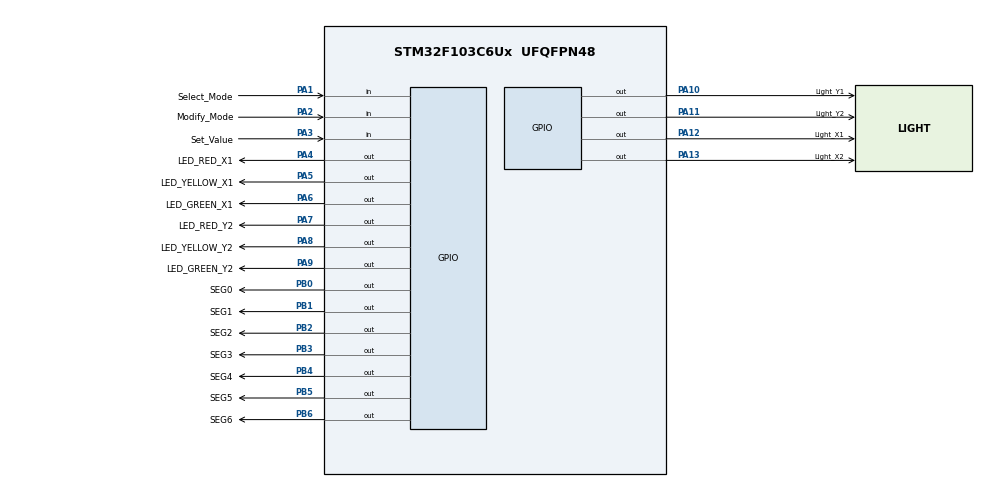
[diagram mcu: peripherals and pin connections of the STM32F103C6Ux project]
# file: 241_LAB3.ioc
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Mcu.Family=STM32F1
Mcu.Name=STM32F103C6Ux
Mcu.Package=UFQFPN48
NVIC.PriorityGroup=NVIC_PRIORITYGROUP_4
NVIC.TIM2_IRQn=true\:0\:0\:false\:false\:true\:true\:true
PA1.GPIO_Label=Select_Mode
PA1.GPIO_PuPd=GPIO_PULLUP
PA1.Signal=GPIO_Input
PA10.GPIO_Label=Light_Y1
PA10.Signal=GPIO_Output
PA11.GPIO_Label=Light_Y2
PA11.Signal=GPIO_Output
PA12.GPIO_Label=Light_X1
PA12.Signal=GPIO_Output
PA13.GPIO_Label=Light_X2
PA13.Signal=GPIO_Output
PA2.GPIO_Label=Modify_Mode
PA2.GPIO_PuPd=GPIO_PULLUP
PA2.Signal=GPIO_Input
PA3.GPIO_Label=Set_Value
PA3.GPIO_PuPd=GPIO_PULLUP
PA3.Signal=GPIO_Input
PA4.GPIO_Label=LED_RED_X1
PA4.Signal=GPIO_Output
PA5.GPIO_Label=LED_YELLOW_X1
PA5.Signal=GPIO_Output
PA6.GPIO_Label=LED_GREEN_X1
PA6.Signal=GPIO_Output
PA7.GPIO_Label=LED_RED_Y2
PA7.Signal=GPIO_Output
PA8.GPIO_Label=LED_YELLOW_Y2
PA8.Signal=GPIO_Output
PA9.GPIO_Label=LED_GREEN_Y2
PA9.Signal=GPIO_Output
PB0.GPIO_Label=SEG0
PB0.Signal=GPIO_Output
PB1.GPIO_Label=SEG1
PB1.Signal=GPIO_Output
PB2.GPIO_Label=SEG2
PB2.Signal=GPIO_Output
PB3.GPIO_Label=SEG3
PB3.Signal=GPIO_Output
PB4.GPIO_Label=SEG4
PB4.Signal=GPIO_Output
PB5.GPIO_Label=SEG5
PB5.Signal=GPIO_Output
PB6.GPIO_Label=SEG6
PB6.Signal=GPIO_Output
ProjectManager.HeapSize=0x200
ProjectManager.StackSize=0x400
ProjectManager.TargetToolchain=STM32CubeIDE
RCC.APB1Freq_Value=8000000
RCC.APB2Freq_Value=8000000
TIM2.Period=9
TIM2.Prescaler=7999
VP_SYS_VS_ND.Mode=No_Debug
VP_TIM2_VS_ClockSourceINT.Mode=Internal
board=custom

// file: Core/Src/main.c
/* USER CODE BEGIN Header */
/**
  ******************************************************************************
  * @file           : main.c
  * @brief          : Main program body
  ******************************************************************************
  * @attention
  *
  * <h2><center>&copy; Copyright (c) 2024 STMicroelectronics.
  * All rights reserved.</center></h2>
  *
  * This software component is licensed by ST under BSD 3-Clause license,
  * the "License"; You may not use this file except in compliance with the
  * License. You may obtain a copy of the License at:
  *                        opensource.org/licenses/BSD-3-Clause
  *
  ******************************************************************************
  */
/* USER CODE END Header */
#include "main.h"

/* USER CODE BEGIN Includes */
#include "Timer.h"
#include "Button.h"
#include "global_ban.h"
#include "fsm_traffic_lights.h"
#include "display.h"
/* USER CODE END Includes */

TIM_HandleTypeDef htim2;

void SystemClock_Config(void);
static void MX_TIM2_Init(void);
static void MX_GPIO_Init(void);

int main(void)
{

  /* MCU Configuration--------------------------------------------------------*/

  /* Reset of all peripherals, Initializes the Flash interface and the Systick. */
  HAL_Init();

  /* Configure the system clock */
  SystemClock_Config();

  /* Initialize all configured peripherals */
  MX_TIM2_Init();
  MX_GPIO_Init();
  /* USER CODE BEGIN 2 */
  HAL_TIM_Base_Start_IT(&htim2);
  /* USER CODE END 2 */

  /* Infinite loop */
  /* USER CODE BEGIN WHILE */
  HAL_GPIO_WritePin(LED_RED_X1_GPIO_Port, LED_RED_X1_Pin, SET);
  HAL_GPIO_WritePin(LED_GREEN_X1_GPIO_Port, LED_GREEN_X1_Pin, SET);
  HAL_GPIO_WritePin(LED_YELLOW_X1_GPIO_Port, LED_YELLOW_X1_Pin, SET);
  HAL_GPIO_WritePin(LED_RED_Y2_GPIO_Port, LED_RED_Y2_Pin, SET);
  HAL_GPIO_WritePin(LED_GREEN_Y2_GPIO_Port, LED_GREEN_Y2_Pin, SET);
  HAL_GPIO_WritePin(LED_YELLOW_Y2_GPIO_Port, LED_YELLOW_Y2_Pin, SET);
  status = MODE_1;
  setTimer(0, 1);

  while (1)
  {
	  fsm_traffic_lights();

    /* USER CODE END WHILE */

  }
}

void SystemClock_Config(void)
{
  RCC_OscInitTypeDef RCC_OscInitStruct = {0};
  RCC_ClkInitTypeDef RCC_ClkInitStruct = {0};

  /** Initializes the RCC Oscillators according to the specified parameters
  * in the RCC_OscInitTypeDef structure.
  */
  RCC_OscInitStruct.OscillatorType = RCC_OSCILLATORTYPE_HSI;
  RCC_OscInitStruct.HSIState = RCC_HSI_ON;
  RCC_OscInitStruct.HSICalibrationValue = RCC_HSICALIBRATION_DEFAULT;
  RCC_OscInitStruct.PLL.PLLState = RCC_PLL_NONE;
  if (HAL_RCC_OscConfig(&RCC_OscInitStruct) != HAL_OK)
  {
    Error_Handler();
  }
  /** Initializes the CPU, AHB and APB buses clocks
  */
  RCC_ClkInitStruct.ClockType = RCC_CLOCKTYPE_HCLK|RCC_CLOCKTYPE_SYSCLK
                              |RCC_CLOCKTYPE_PCLK1|RCC_CLOCKTYPE_PCLK2;
  RCC_ClkInitStruct.SYSCLKSource = RCC_SYSCLKSOURCE_HSI;
  RCC_ClkInitStruct.AHBCLKDivider = RCC_SYSCLK_DIV1;
  RCC_ClkInitStruct.APB1CLKDivider = RCC_HCLK_DIV1;
  RCC_ClkInitStruct.APB2CLKDivider = RCC_HCLK_DIV1;

  if (HAL_RCC_ClockConfig(&RCC_ClkInitStruct, FLASH_LATENCY_0) != HAL_OK)
  {
    Error_Handler();
  }
}

static void MX_TIM2_Init(void)
{

  TIM_ClockConfigTypeDef sClockSourceConfig = {0};
  TIM_MasterConfigTypeDef sMasterConfig = {0};

  htim2.Instance = TIM2;
  htim2.Init.Prescaler = 7999;
  htim2.Init.CounterMode = TIM_COUNTERMODE_UP;
  htim2.Init.Period = 9;
  htim2.Init.ClockDivision = TIM_CLOCKDIVISION_DIV1;
  htim2.Init.AutoReloadPreload = TIM_AUTORELOAD_PRELOAD_DISABLE;
  if (HAL_TIM_Base_Init(&htim2) != HAL_OK)
  {
    Error_Handler();
  }
  sClockSourceConfig.ClockSource = TIM_CLOCKSOURCE_INTERNAL;
  if (HAL_TIM_ConfigClockSource(&htim2, &sClockSourceConfig) != HAL_OK)
  {
    Error_Handler();
  }
  sMasterConfig.MasterOutputTrigger = TIM_TRGO_RESET;
  sMasterConfig.MasterSlaveMode = TIM_MASTERSLAVEMODE_DISABLE;
  if (HAL_TIMEx_MasterConfigSynchronization(&htim2, &sMasterConfig) != HAL_OK)
  {
    Error_Handler();
  }
  /* USER CODE BEGIN TIM2_Init 2 */
  TIME_CYCLE = 1/(8e6/(htim2.Init.Prescaler + 1)/(htim2.Init.Period + 1)) * 1000; // Time cycle
  /* USER CODE END TIM2_Init 2 */

}

static void MX_GPIO_Init(void)
{
  GPIO_InitTypeDef GPIO_InitStruct = {0};

  /* GPIO Ports Clock Enable */
  __HAL_RCC_GPIOA_CLK_ENABLE();
  __HAL_RCC_GPIOB_CLK_ENABLE();

  /*Configure GPIO pin Output Level */
  HAL_GPIO_WritePin(GPIOA, LED_RED_X1_Pin|LED_YELLOW_X1_Pin|LED_GREEN_X1_Pin|LED_RED_Y2_Pin
                          |LED_YELLOW_Y2_Pin|LED_GREEN_Y2_Pin|Light_Y1_Pin|Light_Y2_Pin
                          |Light_X1_Pin|Light_X2_Pin, GPIO_PIN_RESET);

  /*Configure GPIO pin Output Level */
  HAL_GPIO_WritePin(GPIOB, SEG0_Pin|SEG1_Pin|SEG2_Pin|SEG3_Pin
                          |SEG4_Pin|SEG5_Pin|SEG6_Pin, GPIO_PIN_RESET);

  /*Configure GPIO pins : Select_Mode_Pin Modify_Mode_Pin Set_Value_Pin */
  GPIO_InitStruct.Pin = Select_Mode_Pin|Modify_Mode_Pin|Set_Value_Pin;
  GPIO_InitStruct.Mode = GPIO_MODE_INPUT;
  GPIO_InitStruct.Pull = GPIO_PULLUP;
  HAL_GPIO_Init(GPIOA, &GPIO_InitStruct);

  /*Configure GPIO pins : LED_RED_X1_Pin LED_YELLOW_X1_Pin LED_GREEN_X1_Pin LED_RED_Y2_Pin
                           LED_YELLOW_Y2_Pin LED_GREEN_Y2_Pin Light_Y1_Pin Light_Y2_Pin
                           Light_X1_Pin Light_X2_Pin */
  GPIO_InitStruct.Pin = LED_RED_X1_Pin|LED_YELLOW_X1_Pin|LED_GREEN_X1_Pin|LED_RED_Y2_Pin
                          |LED_YELLOW_Y2_Pin|LED_GREEN_Y2_Pin|Light_Y1_Pin|Light_Y2_Pin
                          |Light_X1_Pin|Light_X2_Pin;
  GPIO_InitStruct.Mode = GPIO_MODE_OUTPUT_PP;
  GPIO_InitStruct.Pull = GPIO_NOPULL;
  GPIO_InitStruct.Speed = GPIO_SPEED_FREQ_LOW;
  HAL_GPIO_Init(GPIOA, &GPIO_InitStruct);

  /*Configure GPIO pins : SEG0_Pin SEG1_Pin SEG2_Pin SEG3_Pin
                           SEG4_Pin SEG5_Pin SEG6_Pin */
  GPIO_InitStruct.Pin = SEG0_Pin|SEG1_Pin|SEG2_Pin|SEG3_Pin
                          |SEG4_Pin|SEG5_Pin|SEG6_Pin;
  GPIO_InitStruct.Mode = GPIO_MODE_OUTPUT_PP;
  GPIO_InitStruct.Pull = GPIO_NOPULL;
  GPIO_InitStruct.Speed = GPIO_SPEED_FREQ_LOW;
  HAL_GPIO_Init(GPIOB, &GPIO_InitStruct);

}

/* USER CODE BEGIN 4 */
void HAL_TIM_PeriodElapsedCallback(TIM_HandleTypeDef *htim){

		timerRun();
		getKeyInput();
	}

/* USER CODE END 4 */

void Error_Handler(void)
{
  __disable_irq();
  while (1)
  {
  }
}

/************************ (C) COPYRIGHT STMicroelectronics *****END OF FILE****/
